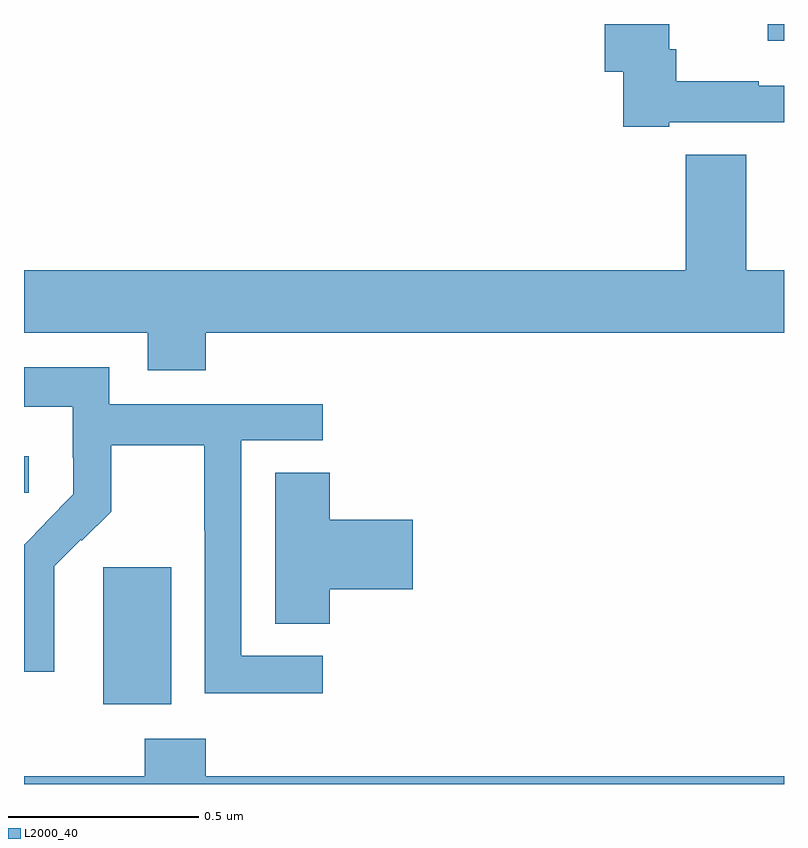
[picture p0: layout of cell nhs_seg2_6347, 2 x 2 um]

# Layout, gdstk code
import gdstk
lib = gdstk.Library(unit=1e-6, precision=1e-09)
def R(c, l, rs):  # rectangles x0, y0, x1, y1
    for r in rs: c.add(gdstk.rectangle(r[:2], r[2:], *l))
def P(c, l, *ps):  # polygons
    for p in ps: c.add(gdstk.Polygon(p, *l))
L2000_40 = (2000, 40)

nhs_seg2_6347 = lib.new_cell('nhs_seg2_6347')
R(nhs_seg2_6347, L2000_40, [(190.208,628.01,190.387,628.371), (190,628.566,190.012,628.663), (191.957,629.756,192,629.8)])
P(nhs_seg2_6347, L2000_40, [(191.698,629.541),(192,629.541),(192,629.637),(191.933,629.637),(191.933,629.65),(191.716,629.65),(191.716,629.734),(191.698,629.734),(191.698,629.8),(191.528,629.8),(191.528,629.675),(191.577,629.675),(191.577,629.529),(191.698,629.529)],
  [(190.478,628.988),(192,628.988),(192,629.152),(191.9,629.152),(191.9,629.456),(191.741,629.456),(191.741,629.152),(190,629.152),(190,628.988),(190.325,628.988),(190.325,628.889),(190.478,628.889)],
  [(190.786,628.137),(190.572,628.137),(190.572,628.704),(190.786,628.704),(190.786,628.8),(190.224,628.8),(190.224,628.897),(190,628.897),(190,628.793),(190.128,628.793),(190.128,628.659),(190.13,628.659),(190.13,628.562),(190.056,628.488),(190.057,628.487),(190,628.43),(190,628.096),(190.08,628.096),(190.08,628.25),(190.079,628.25),(190.079,628.373),(190.149,628.443),(190.152,628.44),(190.229,628.517),(190.229,628.692),(190.474,628.692),(190.474,628.468),(190.476,628.468),(190.476,628.039),(190.786,628.039)],
  [(190.805,628.313),(191.023,628.313),(191.023,628.496),(190.805,628.496),(190.805,628.619),(190.661,628.619),(190.661,628.222),(190.805,628.222)],
  [(192,627.82),(190.478,627.82),(190.478,627.919),(190.318,627.919),(190.318,627.82),(190,627.82),(190,627.8),(192,627.8)])

lib.write_gds('nhs_seg2_6347.gds')
